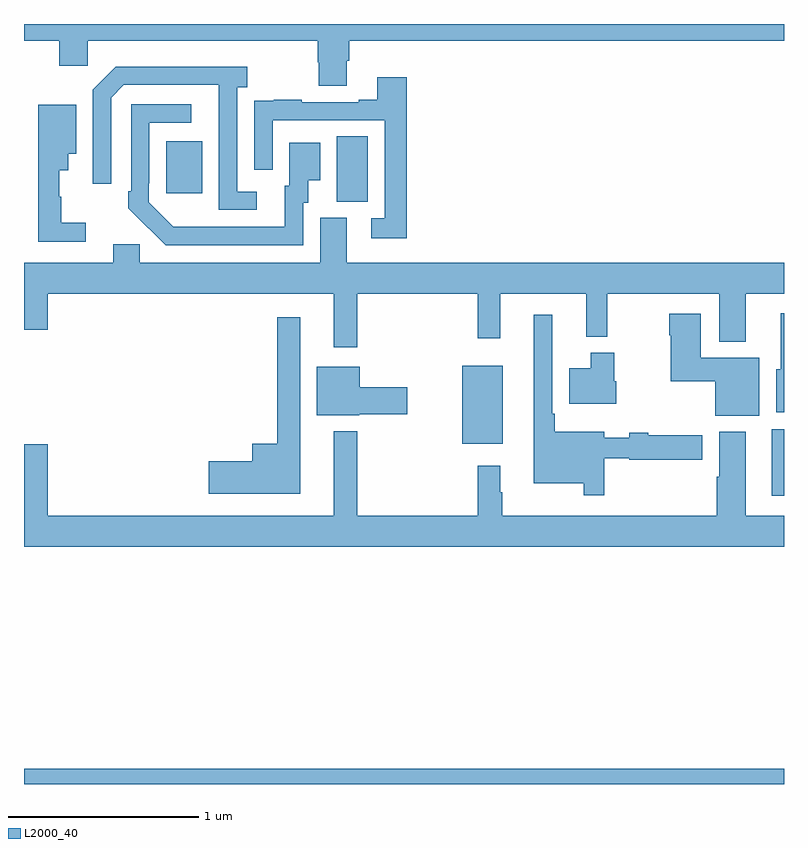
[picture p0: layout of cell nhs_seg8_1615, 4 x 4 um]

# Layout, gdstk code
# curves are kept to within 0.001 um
import gdstk
lib = gdstk.Library(unit=1e-6, precision=1e-09)
def R(c, l, rs):  # rectangles x0, y0, x1, y1
    for r in rs: c.add(gdstk.rectangle(r[:2], r[2:], *l))
def P(c, l, *ps):  # polygons
    for p in ps: c.add(gdstk.Polygon(p, *l))
L2000_40 = (2000, 40)

nhs_seg8_1615 = lib.new_cell('nhs_seg8_1615')
R(nhs_seg8_1615, L2000_40, [(213,1133.9,217,1133.98), (216.935,1135.416,217,1135.768), (215.306,1135.691,215.521,1136.101), (214.646,1136.965,214.81,1137.308), (213.749,1137.009,213.937,1137.283)])
P(nhs_seg8_1615, L2000_40, [(214.699,1137.706),(214.712,1137.706),(214.712,1137.812),(217,1137.812),(217,1137.9),(213,1137.9),(213,1137.812),(213.185,1137.812),(213.185,1137.681),(213.336,1137.681),(213.336,1137.812),(214.547,1137.812),(214.547,1137.699),(214.552,1137.699),(214.552,1137.574),(214.699,1137.574)],
  [(214.225,1137.018),(214.122,1137.018),(214.122,1137.566),(214.174,1137.566),(214.174,1137.676),(213.484,1137.676),(213.363,1137.555),(213.363,1137.06),(213.459,1137.06),(213.459,1137.513),(213.525,1137.579),(214.025,1137.579),(214.026,1136.922),(214.225,1136.922)],
  [(215.015,1137.619),(214.859,1137.619),(214.859,1137.502),(214.763,1137.502),(214.763,1137.489),(214.463,1137.489),(214.463,1137.502),(214.315,1137.502),(214.315,1137.495),(214.213,1137.495),(214.213,1137.386),(214.212,1137.386),(214.212,1137.132),(214.308,1137.132),(214.308,1137.393),(214.899,1137.393),(214.899,1136.877),(214.827,1136.877),(214.827,1136.772),(215.015,1136.772)],
  [(214.47,1136.958),(214.495,1136.958),(214.495,1137.077),(214.558,1137.077),(214.558,1137.274),(214.397,1137.274),(214.397,1137.048),(214.373,1137.048),(214.373,1136.832),(213.786,1136.833),(213.657,1136.961),(213.657,1137.061),(213.66,1137.061),(213.66,1137.381),(213.88,1137.381),(213.88,1137.477),(213.564,1137.477),(213.564,1137.019),(213.549,1137.019),(213.549,1136.931),(213.746,1136.736),(214.47,1136.736)],
  [(213.325,1136.855),(213.196,1136.855),(213.196,1136.991),(213.185,1136.991),(213.185,1137.131),(213.232,1137.131),(213.232,1137.218),(213.274,1137.218),(213.274,1137.475),(213.074,1137.475),(213.074,1137.135),(213.075,1137.135),(213.075,1136.754),(213.325,1136.754)],
  [(214.699,1136.88),(214.559,1136.88),(214.559,1136.644),(213.609,1136.644),(213.609,1136.742),(213.47,1136.742),(213.47,1136.644),(213,1136.644),(213,1136.292),(213.124,1136.292),(213.124,1136.48),(214.631,1136.48),(214.631,1136.199),(214.753,1136.199),(214.753,1136.48),(215.389,1136.48),(215.389,1136.247),(215.507,1136.247),(215.507,1136.48),(215.96,1136.48),(215.96,1136.255),(216.07,1136.255),(216.07,1136.48),(216.659,1136.48),(216.659,1136.228),(216.799,1136.228),(216.799,1136.48),(217,1136.48),(217,1136.644),(214.699,1136.644)],
  [(217,1136.377),(216.983,1136.377),(216.983,1136.082),(216.959,1136.082),(216.959,1135.856),(217,1135.856)],
  [(216.871,1136.143),(216.562,1136.143),(216.562,1136.374),(216.397,1136.374),(216.397,1136.261),(216.404,1136.261),(216.404,1136.021),(216.638,1136.021),(216.638,1135.838),(216.871,1135.838)],
  [(216.055,1135.614),(216.186,1135.614),(216.186,1135.606),(216.571,1135.606),(216.571,1135.735),(216.286,1135.735),(216.286,1135.75),(216.186,1135.75),(216.186,1135.723),(216.055,1135.723),(216.055,1135.753),(215.794,1135.753),(215.794,1135.849),(215.781,1135.849),(215.781,1136.371),(215.684,1136.371),(215.684,1135.484),(215.946,1135.484),(215.946,1135.419),(216.055,1135.419)],
  [(214.453,1136.356),(214.332,1136.356),(214.332,1135.69),(214.202,1135.69),(214.202,1135.598),(213.972,1135.598),(213.972,1135.427),(214.453,1135.427)],
  [(216.118,1136.019),(216.106,1136.019),(216.106,1136.17),(215.984,1136.17),(215.984,1136.089),(215.87,1136.089),(215.87,1135.901),(216.118,1135.901)],
  [(214.764,1135.847),(215.017,1135.847),(215.017,1135.989),(214.768,1135.989),(214.768,1136.095),(214.541,1136.095),(214.541,1135.841),(214.764,1135.841)],
  [(217,1135.312),(216.799,1135.312),(216.799,1135.753),(216.659,1135.753),(216.659,1135.517),(216.647,1135.517),(216.647,1135.312),(215.518,1135.312),(215.518,1135.436),(215.506,1135.436),(215.506,1135.576),(215.389,1135.576),(215.389,1135.312),(214.753,1135.312),(214.753,1135.756),(214.631,1135.756),(214.631,1135.312),(213.124,1135.312),(213.124,1135.687),(213,1135.687),(213,1135.148),(217,1135.148)])

lib.write_gds('nhs_seg8_1615.gds')
